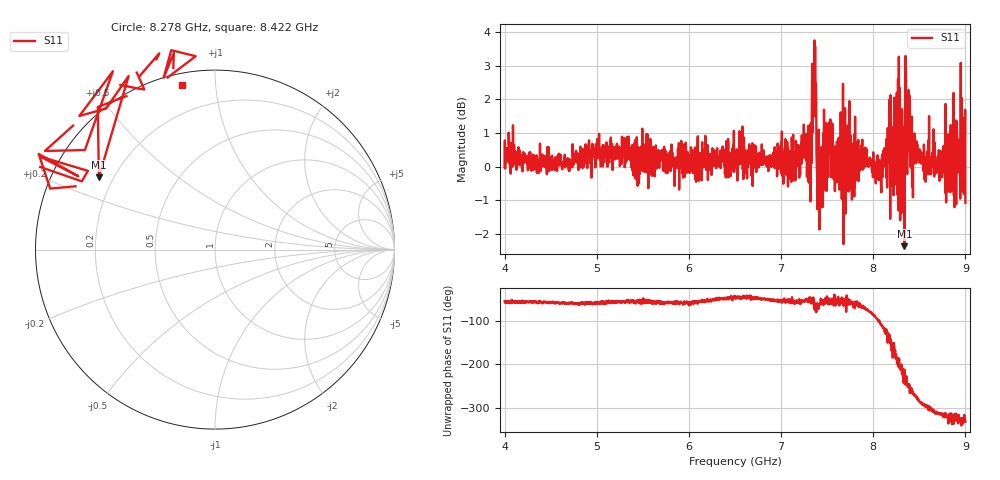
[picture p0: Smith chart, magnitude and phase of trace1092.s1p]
! Created with skrf 1.8.0 (http://scikit-rf.org).
# Hz S RI R 50.0
!freq ReS11 ImS11
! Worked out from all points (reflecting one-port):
!   1601 points, 4 GHz to 9 GHz, reference 50 ohm
!   lowest |S11| = -2.4 dB at 8.338 GHz (marker M1), VSWR 7.41, Z = 7.29 + j14 ohm
!   phase of S11 starts at -56 deg and turns -274 deg over the sweep
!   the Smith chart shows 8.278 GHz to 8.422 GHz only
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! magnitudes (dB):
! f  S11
! 4 GHz  0.0
! 4.625 GHz  -0.1
! 5.25 GHz  0.0
! 5.875 GHz  0.0
! 6.5 GHz  0.3
! 7.125 GHz  0.6
! 7.306 GHz  -0.5
! 7.356 GHz  3.1
! 7.388 GHz  -0.1
! 7.412 GHz  0.1
! 7.509 GHz  -0.3
! 7.588 GHz  0.6
! 7.65 GHz  0.9
! 7.703 GHz  0.5
! 7.75 GHz  0.0
! 8.066 GHz  0.2
! 8.178 GHz  2.0
! 8.225 GHz  0.6
! 8.253 GHz  1.3
! 8.316 GHz  0.4
! 8.338 GHz  -2.4
! 8.375 GHz  1.5
! 8.431 GHz  -0.9
! 8.556 GHz  -0.4
! 8.784 GHz  1.9
! 8.838 GHz  -0.2
! 8.972 GHz  0.4
! 9 GHz  -1.1
